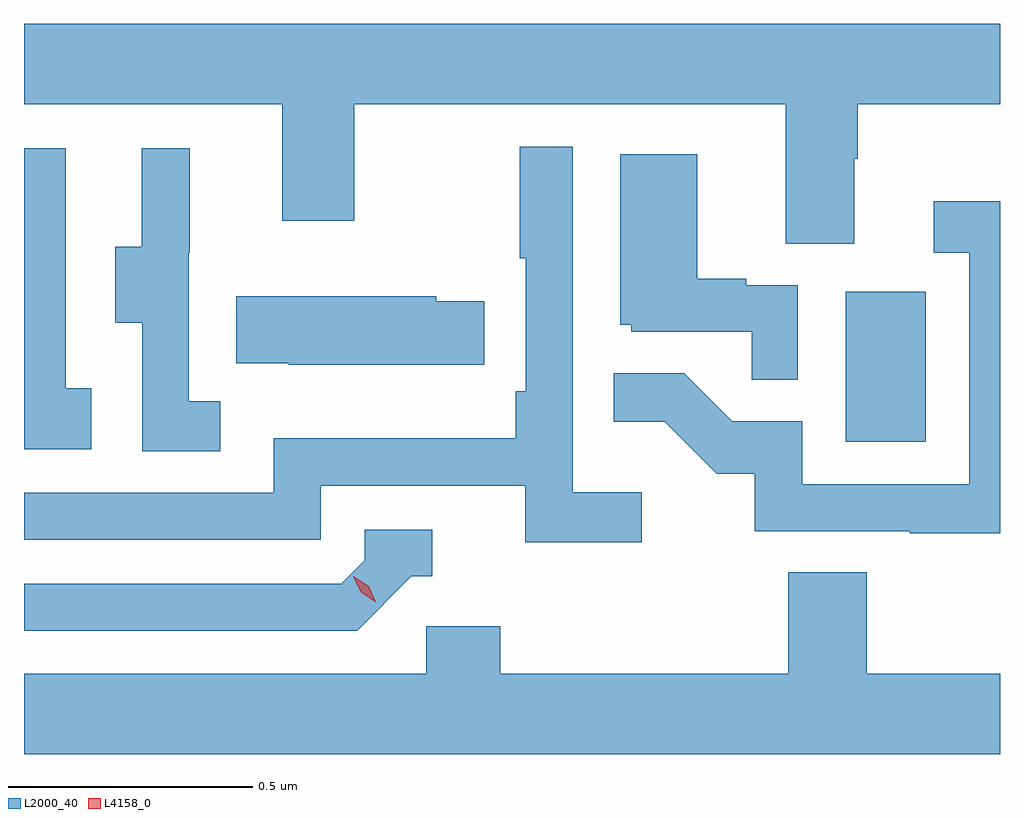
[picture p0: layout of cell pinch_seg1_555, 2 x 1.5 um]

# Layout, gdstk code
import gdstk
lib = gdstk.Library(unit=1e-6, precision=1e-09)
def R(c, l, rs):  # rectangles x0, y0, x1, y1
    for r in rs: c.add(gdstk.rectangle(r[:2], r[2:], *l))
def P(c, l, *ps):  # polygons
    for p in ps: c.add(gdstk.Polygon(p, *l))
L2000_40 = (2000, 40)
L4158_0 = (4158, 0)

pinch_seg1_555 = lib.new_cell('pinch_seg1_555')
R(pinch_seg1_555, L2000_40, [(1034.048,528.396,1034.212,528.703)])
P(pinch_seg1_555, L2000_40, [(1034.065,528.976),(1034.073,528.976),(1034.073,529.088),(1034.364,529.088),(1034.364,529.252),(1032.364,529.252),(1032.364,529.088),(1032.893,529.088),(1032.893,528.849),(1033.041,528.849),(1033.041,529.088),(1033.925,529.088),(1033.925,528.802),(1034.065,528.802)],
  [(1033.63,528.292),(1033.488,528.292),(1033.488,529),(1033.38,529),(1033.38,528.772),(1033.392,528.772),(1033.392,528.499),(1033.372,528.499),(1033.372,528.403),(1032.876,528.403),(1032.876,528.291),(1032.364,528.291),(1032.364,528.195),(1032.972,528.195),(1032.972,528.306),(1033.391,528.306),(1033.391,528.19),(1033.63,528.19)],
  [(1032.502,528.506),(1032.45,528.506),(1032.45,528.997),(1032.364,528.997),(1032.364,528.381),(1032.502,528.381)],
  [(1032.766,528.479),(1032.702,528.479),(1032.702,528.783),(1032.704,528.783),(1032.704,528.997),(1032.605,528.997),(1032.605,528.795),(1032.551,528.795),(1032.551,528.64),(1032.606,528.64),(1032.606,528.376),(1032.766,528.376)],
  [(1033.95,528.717),(1033.844,528.717),(1033.844,528.73),(1033.744,528.73),(1033.744,528.985),(1033.586,528.985),(1033.586,528.636),(1033.608,528.636),(1033.608,528.621),(1033.855,528.621),(1033.855,528.523),(1033.95,528.523)],
  [(1034.364,528.889),(1034.228,528.889),(1034.228,528.783),(1034.301,528.783),(1034.301,528.309),(1033.959,528.309),(1033.959,528.438),(1033.815,528.438),(1033.717,528.536),(1033.573,528.536),(1033.573,528.437),(1033.677,528.437),(1033.784,528.33),(1033.861,528.33),(1033.861,528.213),(1034.179,528.213),(1034.179,528.208),(1034.364,528.208)],
  [(1033.307,528.684),(1033.209,528.684),(1033.209,528.694),(1032.799,528.694),(1032.799,528.557),(1032.907,528.557),(1032.907,528.554),(1033.307,528.554)],
  [(1033.158,528.12),(1033.201,528.12),(1033.201,528.216),(1033.062,528.216),(1033.062,528.153),(1033.014,528.105),(1032.364,528.105),(1032.364,528.009),(1033.047,528.009)],
  [(1034.364,527.92),(1034.091,527.92),(1034.091,528.128),(1033.93,528.128),(1033.93,527.92),(1033.34,527.92),(1033.34,528.018),(1033.188,528.018),(1033.188,527.92),(1032.364,527.92),(1032.364,527.756),(1034.364,527.756)])
P(pinch_seg1_555, L4158_0, [(1033.085,528.067),(1033.055,528.087),(1033.039,528.119),(1033.039,528.12),(1033.039,528.12),(1033.07,528.1),(1033.085,528.067),(1033.085,528.067)])

lib.write_gds('pinch_seg1_555.gds')
